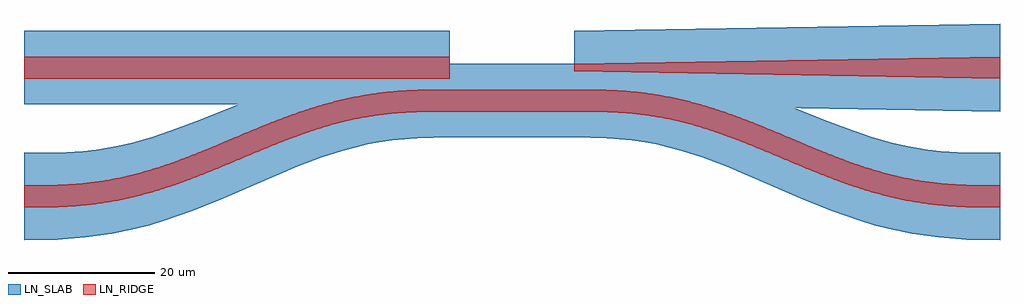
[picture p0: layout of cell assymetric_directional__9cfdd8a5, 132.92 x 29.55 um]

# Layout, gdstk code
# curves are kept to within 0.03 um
from math import pi, radians
import gdstk
lib = gdstk.Library(unit=1e-6, precision=1e-09)
def R(c, l, rs):  # rectangles x0, y0, x1, y1
    for r in rs: c.add(gdstk.rectangle(r[:2], r[2:], *l))
def P(c, l, *ps):  # polygons
    for p in ps: c.add(gdstk.Polygon(p, *l))
LN_RIDGE = (2, 0)
LN_SLAB = (3, 0)

taper_l58_w3_w1p5_lnone_ = lib.new_cell('taper_L58_W3_W1p5_LNone_1bacd9a6')
R(taper_l58_w3_w1p5_lnone_, LN_RIDGE, [(0,-1.5,58,1.5)])
R(taper_l58_w3_w1p5_lnone_, LN_SLAB, [(0,-5,58,5)])

bend_s_spline_varying_w_ = lib.new_cell('bend_S_spline_varying_w_82685a63')
P(bend_s_spline_varying_w_, LN_RIDGE, [(0,-1.5),(0,1.5),(4.869,1.569),(6.565,1.662),(8.536,1.838),(10.222,2.054),(12.187,2.388),(13.591,2.68),(15.561,3.166),(18.67,4.099),(22.085,5.32),(25.239,6.577),(32.496,9.606),(36.614,11.188),(40.172,12.359),(41.96,12.86),(43.751,13.297),(47.042,13.919),(50.331,14.311),(53.601,14.5),(58,14.55),(58,11.55),(53.131,11.481),(51.435,11.388),(49.464,11.212),(47.778,10.996),(45.813,10.662),(44.409,10.37),(42.439,9.884),(39.33,8.951),(35.915,7.73),(32.761,6.473),(25.504,3.444),(21.386,1.862),(17.828,0.691),(16.04,0.19),(14.249,-0.247),(10.958,-0.869),(7.669,-1.261),(4.399,-1.45)])
P(bend_s_spline_varying_w_, LN_SLAB, [(4.515,-5.021),(0,-5),(0,5),(4.454,5.133),(7.879,5.429),(9.687,5.69),(11.23,5.976),(12.773,6.323),(14.585,6.806),(17.472,7.73),(20.698,8.95),(23.738,10.223),(31.264,13.507),(35.216,15.091),(38.972,16.391),(40.885,16.959),(42.816,17.46),(46.062,18.134),(49.632,18.635),(53.457,18.925),(58,19.05),(58,7.05),(53.312,7.067),(49.939,6.883),(48.153,6.683),(45.087,6.153),(43.275,5.731),(40.371,4.901),(37.108,3.785),(34.021,2.609),(26.677,-0.311),(22.686,-1.766),(18.91,-2.945),(16.995,-3.45),(15.067,-3.889),(13.13,-4.256),(11.516,-4.505),(7.981,-4.873)])

straight_l16p92_n2_csxs_ = lib.new_cell('straight_L16p92_N2_CSxs_12677d9c')
R(straight_l16p92_n2_csxs_, LN_RIDGE, [(0,-1.5,16.92,1.5)])
R(straight_l16p92_n2_csxs_, LN_SLAB, [(0,-5,16.92,5)])

c_bend_s_spline_varying_w_ = lib.new_cell('bend_S_spline_varying_w_c8840f79')
P(c_bend_s_spline_varying_w_, LN_RIDGE, [(58,-1.5),(0,-0.5),(0,0.5),(58,1.5)])
P(c_bend_s_spline_varying_w_, LN_SLAB, [(58,-6),(0,-5),(0,5),(58,6)])

assymetric_directional__ = lib.new_cell('assymetric_directional__9cfdd8a5')
assymetric_directional__.add(gdstk.Reference(taper_l58_w3_w1p5_lnone_, (-66.46,2.25)))
assymetric_directional__.add(gdstk.Reference(bend_s_spline_varying_w_, (-8.46,-2.25), rotation=pi))
assymetric_directional__.add(gdstk.Reference(straight_l16p92_n2_csxs_, (-8.46,-2.25)))
assymetric_directional__.add(gdstk.Reference(bend_s_spline_varying_w_, (8.46,-2.25), x_reflection=True))
assymetric_directional__.add(gdstk.Reference(c_bend_s_spline_varying_w_, (8.46,2.25)))

lib.write_gds('assymetric_directional__9cfdd8a5.gds')
